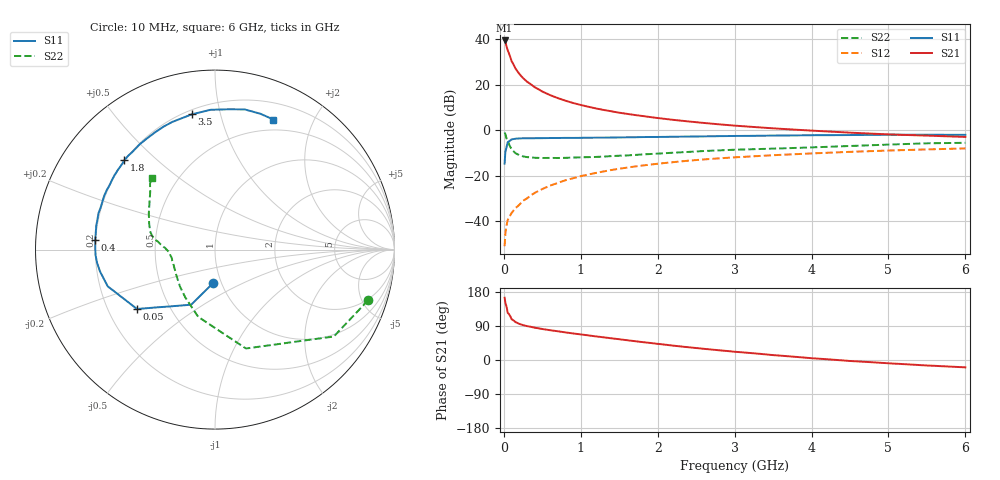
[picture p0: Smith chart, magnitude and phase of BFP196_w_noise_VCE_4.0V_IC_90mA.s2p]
! Infineon Technologies  Discrete & RF Semiconductors
! BFP196
! VCE =  4.0 V,  IC =  90 mA
! Common Emitter S-Parameters:  Jan 2017
# GHz  S  MA  R  50
!  f  S11  S21  S12  S22
! GHz  MAG  ANG  MAG  ANG  MAG  ANG  MAG  ANG
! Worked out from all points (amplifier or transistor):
!   77 points, 10 MHz to 6 GHz, reference 50 ohm
!   highest |S21| = 39.6 dB at 10 MHz (marker M1)
!   |S21| within 3 dB of that: start of sweep to 38.68 MHz
!   unconditionally stable (mu >= 1): 395.3 MHz to 2.455 GHz
!   at 130 MHz: K = 0.76, MSG = 31.9 dB, |S12| = -35.1 dB
!   at 2.2 GHz: K = 1.01, MAG = 8.7 dB, |S12| = -14.1 dB
!   at 6 GHz: K = 0.96, MSG = 2.5 dB, |S12| = -8.0 dB
!   lowest NFmin = 1.90 dB at 450 MHz
!   S11 on the Smith chart (normalised r, x): 10 MHz: 0.92, -0.35; 50 MHz: 0.32, -0.31; 400 MHz: 0.20, +0.04; 1.8 GHz: 0.20, +0.40; 3.5 GHz: 0.23, +0.82; 6 GHz: 0.38, +1.48
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0.01  0.1847 -92.6  95.24 164.3  0.0028 75.2  0.898 -18.4
0.02  0.3345 -113.4  87.74 150.7  0.0054 69.8  0.8202 -36.2
0.05  0.5461 -142.7  57.92 124.8  0.0105 54.9  0.5773 -72.6
0.1  0.6318 -161.1  33.61 107.6  0.0149 57.8  0.3857 -104.1
0.15  0.6523 -169.3  23.14 100.2  0.0192 60.5  0.3139 -121.8
0.2  0.6612 -173.6  17.56 95.4  0.0227 66.3  0.2838 -133.4
0.25  0.6664 -177.5  14.12 92.0  0.028 67.2  0.2662 -141.4
0.3  0.667 179.9  11.81 89.5  0.0316 68.8  0.2567 -147.7
0.4  0.6692 175.5  8.915 85.2  0.0417 70.2  0.2483 -155.7
0.5  0.671 171.8  7.137 81.8  0.0508 69.9  0.2454 -161.1
0.6  0.6751 168.5  5.975 78.6  0.0603 70.0  0.2462 -165.2
0.7  0.6759 165.6  5.127 75.9  0.0691 70.0  0.2452 -168.5
0.9  0.6788 159.8  3.992 70.1  0.0877 68.0  0.2506 -172.7
1.1  0.6865 154.0  3.293 64.9  0.1064 66.0  0.256 -176.1
1.4  0.6926 146.0  2.615 57.2  0.1335 61.9  0.2698 179.9
1.8  0.7085 135.4  2.065 47.3  0.1673 56.1  0.2933 175.8
2.1  0.7163 127.9  1.779 40.4  0.1907 51.7  0.3133 173.1
3.1  0.7514 106.8  1.232 20.2  0.2589 37.6  0.3771 163.4
3.5  0.7649 99.6  1.104 12.9  0.2824 32.7  0.3944 158.5
4.1  0.7795 90.3  0.963 3.4  0.3141 25.1  0.4257 149.8
5.1  0.7975 76.7  0.802 -9.8  0.3622 13.3  0.4904 137.4
6  0.7944 65.8  0.714 -19.4  0.3985 3.3  0.5302 131.1
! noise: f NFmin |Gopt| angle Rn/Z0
0.45  1.9  0.53  -169  0.07
0.9  2.07  0.55  -156  0.11
1.9  2.95  0.71  -129  0.45
2.4  3.36  0.7  -115  0.94
